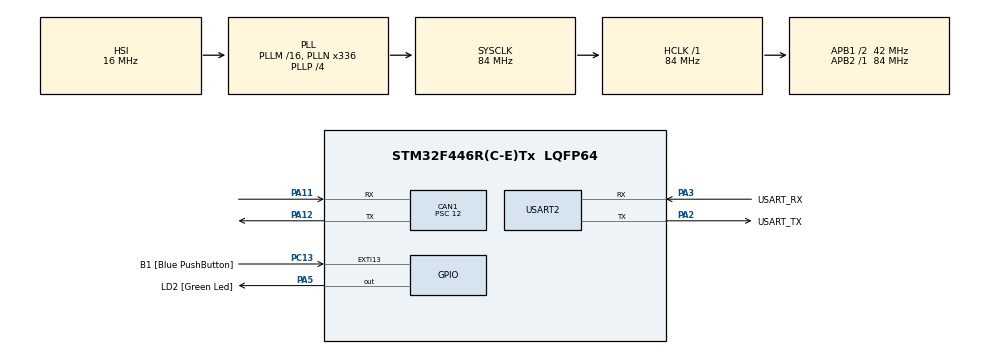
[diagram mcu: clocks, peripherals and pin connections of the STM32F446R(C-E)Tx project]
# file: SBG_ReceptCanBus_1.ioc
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CAN1.BS1=CAN_BS1_5TQ
CAN1.CalculateBaudRate=500000
CAN1.CalculateTimeBit=2000
CAN1.CalculateTimeQuantum=285.7142857142857
CAN1.Prescaler=12
Mcu.Family=STM32F4
Mcu.Name=STM32F446R(C-E)Tx
Mcu.Package=LQFP64
NVIC.CAN1_RX0_IRQn=true\:0\:0\:false\:false\:true\:true\:true\:true
NVIC.PriorityGroup=NVIC_PRIORITYGROUP_0
PA11.Mode=CAN_Activate
PA11.Signal=CAN1_RX
PA12.Mode=CAN_Activate
PA12.Signal=CAN1_TX
PA13.GPIO_Label=TMS
PA13.Mode=Serial_Wire
PA13.Signal=SYS_JTMS-SWDIO
PA14.GPIO_Label=TCK
PA14.Mode=Serial_Wire
PA14.Signal=SYS_JTCK-SWCLK
PA2.GPIO_Label=USART_TX
PA2.Mode=Asynchronous
PA2.Signal=USART2_TX
PA3.GPIO_Label=USART_RX
PA3.Mode=Asynchronous
PA3.Signal=USART2_RX
PA5.GPIO_Label=LD2 [Green Led]
PA5.Signal=GPIO_Output
PB3.GPIO_Label=SWO
PB3.Signal=SYS_JTDO-SWO
PC13.GPIO_Label=B1 [Blue PushButton]
PC13.GPIO_ModeDefaultEXTI=GPIO_MODE_IT_FALLING
PC13.Signal=GPXTI13
PC14-OSC32_IN.Mode=LSE-External-Oscillator
PC14-OSC32_IN.Signal=RCC_OSC32_IN
PC15-OSC32_OUT.Mode=LSE-External-Oscillator
PC15-OSC32_OUT.Signal=RCC_OSC32_OUT
PH0-OSC_IN.Mode=HSE-External-Oscillator
PH0-OSC_IN.Signal=RCC_OSC_IN
PH1-OSC_OUT.Mode=HSE-External-Oscillator
PH1-OSC_OUT.Signal=RCC_OSC_OUT
ProjectManager.HeapSize=0x200
ProjectManager.StackSize=0x400
ProjectManager.TargetToolchain=STM32CubeIDE
RCC.48MHZClocksFreq_Value=84000000
RCC.AHBFreq_Value=84000000
RCC.APB1CLKDivider=RCC_HCLK_DIV2
RCC.APB1Freq_Value=42000000
RCC.APB1TimFreq_Value=84000000
RCC.APB2Freq_Value=84000000
RCC.APB2TimFreq_Value=84000000
RCC.CortexFreq_Value=84000000
RCC.FLatency-AdvancedSettings=FLASH_LATENCY_2
RCC.HCLKFreq_Value=84000000
RCC.HSE_VALUE=8000000
RCC.HSI_VALUE=16000000
RCC.PLLN=336
RCC.PLLP=RCC_PLLP_DIV4
RCC.SYSCLKFreq_VALUE=84000000
RCC.SYSCLKSource=RCC_SYSCLKSOURCE_PLLCLK
RCC.USBFreq_Value=168000000
RCC.VCOOutputFreq_Value=336000000
USART2.VirtualMode=VM_ASYNC
board=NUCLEO-F446RE

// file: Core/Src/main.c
/* USER CODE BEGIN Header */
/**
  ******************************************************************************
  * @file           : main.c
  * @brief          : Main program body
  ******************************************************************************
  * @attention
  *
  * Copyright (c) 2023 STMicroelectronics.
  * All rights reserved.
  *
  * This software is licensed under terms that can be found in the LICENSE file
  * in the root directory of this software component.
  * If no LICENSE file comes with this software, it is provided AS-IS.
  *
  ******************************************************************************
  */
/* USER CODE END Header */
#include "main.h"

CAN_HandleTypeDef hcan1;

UART_HandleTypeDef huart2;

void SystemClock_Config(void);
static void MX_GPIO_Init(void);
static void MX_USART2_UART_Init(void);
static void MX_CAN1_Init(void);

/* USER CODE BEGIN 0 */
CAN_TxHeaderTypeDef TxHeader;
CAN_RxHeaderTypeDef RxHeader;

char TxData[8];
char RxData[8];
char test[8] = "test\n\r";

uint32_t TxMailbox;

uint32_t BG_ECAN_MSG_IMU_INFO				= 0x120;
uint32_t SBG_ECAN_MSG_IMU_ACCEL				= 0x121;
uint32_t SBG_ECAN_MSG_IMU_GYRO				= 0x122;

int datacheck = 0;

void HAL_CAN_RxFifo1MsgPendingCallback(CAN_HandleTypeDef *hcan)
{
	HAL_CAN_GetRxMessage(hcan, CAN_RX_FIFO1, &RxHeader, RxData);
	datacheck  = 1;
}

void send_uart(char *string)
{
	uint8_t len = strlen(string);
	HAL_UART_Transmit(&huart2, (uint8_t *) string, len, 2000);
}
/* USER CODE END 0 */

int main(void)
{

  /* MCU Configuration--------------------------------------------------------*/

  /* Reset of all peripherals, Initializes the Flash interface and the Systick. */
  HAL_Init();

  /* Configure the system clock */
  SystemClock_Config();

  /* Initialize all configured peripherals */
  MX_GPIO_Init();
  MX_USART2_UART_Init();
  MX_CAN1_Init();
  /* USER CODE BEGIN 2 */

  HAL_CAN_ActivateNotification(&hcan1, CAN_IT_RX_FIFO1_MSG_PENDING);

   TxHeader.DLC  = 8; //Data length
   TxHeader.IDE = CAN_ID_STD;
   TxHeader.RTR = CAN_RTR_DATA;
   TxHeader.StdId = SBG_ECAN_MSG_IMU_GYRO; //ID
  /* USER CODE END 2 */

  /* Infinite loop */
  /* USER CODE BEGIN WHILE */
  while (1)
  {

	  if(HAL_GPIO_ReadPin(B1_GPIO_Port, B1_Pin) == 0)
	  {

		  send_uart(test);
	  }
	  if(datacheck)
	  {
			send_uart(RxData);

		  datacheck = 0;
	  }
    /* USER CODE END WHILE */

  }
}

void SystemClock_Config(void)
{
  RCC_OscInitTypeDef RCC_OscInitStruct = {0};
  RCC_ClkInitTypeDef RCC_ClkInitStruct = {0};

  /** Configure the main internal regulator output voltage
  */
  __HAL_RCC_PWR_CLK_ENABLE();
  __HAL_PWR_VOLTAGESCALING_CONFIG(PWR_REGULATOR_VOLTAGE_SCALE3);

  /** Initializes the RCC Oscillators according to the specified parameters
  * in the RCC_OscInitTypeDef structure.
  */
  RCC_OscInitStruct.OscillatorType = RCC_OSCILLATORTYPE_HSI;
  RCC_OscInitStruct.HSIState = RCC_HSI_ON;
  RCC_OscInitStruct.HSICalibrationValue = RCC_HSICALIBRATION_DEFAULT;
  RCC_OscInitStruct.PLL.PLLState = RCC_PLL_ON;
  RCC_OscInitStruct.PLL.PLLSource = RCC_PLLSOURCE_HSI;
  RCC_OscInitStruct.PLL.PLLM = 16;
  RCC_OscInitStruct.PLL.PLLN = 336;
  RCC_OscInitStruct.PLL.PLLP = RCC_PLLP_DIV4;
  RCC_OscInitStruct.PLL.PLLQ = 2;
  RCC_OscInitStruct.PLL.PLLR = 2;
  if (HAL_RCC_OscConfig(&RCC_OscInitStruct) != HAL_OK)
  {
    Error_Handler();
  }

  /** Initializes the CPU, AHB and APB buses clocks
  */
  RCC_ClkInitStruct.ClockType = RCC_CLOCKTYPE_HCLK|RCC_CLOCKTYPE_SYSCLK
                              |RCC_CLOCKTYPE_PCLK1|RCC_CLOCKTYPE_PCLK2;
  RCC_ClkInitStruct.SYSCLKSource = RCC_SYSCLKSOURCE_PLLCLK;
  RCC_ClkInitStruct.AHBCLKDivider = RCC_SYSCLK_DIV1;
  RCC_ClkInitStruct.APB1CLKDivider = RCC_HCLK_DIV2;
  RCC_ClkInitStruct.APB2CLKDivider = RCC_HCLK_DIV1;

  if (HAL_RCC_ClockConfig(&RCC_ClkInitStruct, FLASH_LATENCY_2) != HAL_OK)
  {
    Error_Handler();
  }
}

static void MX_CAN1_Init(void)
{

  hcan1.Instance = CAN1;
  hcan1.Init.Prescaler = 12;
  hcan1.Init.Mode = CAN_MODE_NORMAL;
  hcan1.Init.SyncJumpWidth = CAN_SJW_1TQ;
  hcan1.Init.TimeSeg1 = CAN_BS1_5TQ;
  hcan1.Init.TimeSeg2 = CAN_BS2_1TQ;
  hcan1.Init.TimeTriggeredMode = DISABLE;
  hcan1.Init.AutoBusOff = DISABLE;
  hcan1.Init.AutoWakeUp = DISABLE;
  hcan1.Init.AutoRetransmission = DISABLE;
  hcan1.Init.ReceiveFifoLocked = DISABLE;
  hcan1.Init.TransmitFifoPriority = DISABLE;
  if (HAL_CAN_Init(&hcan1) != HAL_OK)
  {
    Error_Handler();
  }
  /* USER CODE BEGIN CAN1_Init 2 */
  CAN_FilterTypeDef canfilterconfig;

    canfilterconfig.FilterActivation = CAN_FILTER_ENABLE;
    canfilterconfig.FilterBank = 18; //Wich filter bank to use from the assigned ones
    canfilterconfig.FilterFIFOAssignment = CAN_FILTER_FIFO1;
    canfilterconfig.FilterIdHigh = 0x446<<5;
    canfilterconfig.FilterIdLow = 0;
    canfilterconfig.FilterMaskIdHigh = 0x446<<5;
    canfilterconfig.FilterMaskIdLow = 0x0000;
    canfilterconfig.FilterMode = CAN_FILTERMODE_IDMASK;
    canfilterconfig.FilterScale = CAN_FILTERSCALE_32BIT;
    canfilterconfig.SlaveStartFilterBank = 0; // doesn't matter in single can controllers

    HAL_CAN_ConfigFilter(&hcan1, &canfilterconfig);
  /* USER CODE END CAN1_Init 2 */

}

static void MX_USART2_UART_Init(void)
{

  huart2.Instance = USART2;
  huart2.Init.BaudRate = 115200;
  huart2.Init.WordLength = UART_WORDLENGTH_8B;
  huart2.Init.StopBits = UART_STOPBITS_1;
  huart2.Init.Parity = UART_PARITY_NONE;
  huart2.Init.Mode = UART_MODE_TX_RX;
  huart2.Init.HwFlowCtl = UART_HWCONTROL_NONE;
  huart2.Init.OverSampling = UART_OVERSAMPLING_16;
  if (HAL_UART_Init(&huart2) != HAL_OK)
  {
    Error_Handler();
  }

}

static void MX_GPIO_Init(void)
{
  GPIO_InitTypeDef GPIO_InitStruct = {0};

  /* GPIO Ports Clock Enable */
  __HAL_RCC_GPIOC_CLK_ENABLE();
  __HAL_RCC_GPIOH_CLK_ENABLE();
  __HAL_RCC_GPIOA_CLK_ENABLE();
  __HAL_RCC_GPIOB_CLK_ENABLE();

  /*Configure GPIO pin Output Level */
  HAL_GPIO_WritePin(LD2_GPIO_Port, LD2_Pin, GPIO_PIN_RESET);

  /*Configure GPIO pin : B1_Pin */
  GPIO_InitStruct.Pin = B1_Pin;
  GPIO_InitStruct.Mode = GPIO_MODE_IT_FALLING;
  GPIO_InitStruct.Pull = GPIO_NOPULL;
  HAL_GPIO_Init(B1_GPIO_Port, &GPIO_InitStruct);

  /*Configure GPIO pin : LD2_Pin */
  GPIO_InitStruct.Pin = LD2_Pin;
  GPIO_InitStruct.Mode = GPIO_MODE_OUTPUT_PP;
  GPIO_InitStruct.Pull = GPIO_NOPULL;
  GPIO_InitStruct.Speed = GPIO_SPEED_FREQ_LOW;
  HAL_GPIO_Init(LD2_GPIO_Port, &GPIO_InitStruct);

}

void Error_Handler(void)
{
  __disable_irq();
  while (1)
  {
  }
}
